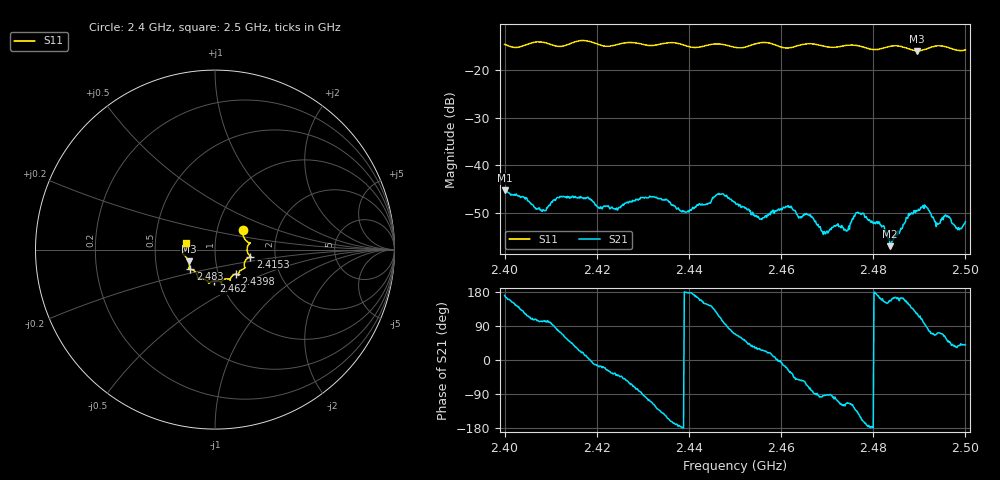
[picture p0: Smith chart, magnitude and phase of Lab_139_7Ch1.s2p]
# Hz S RI R 50
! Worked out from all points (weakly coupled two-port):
!   601 points, 2.4 GHz to 2.5 GHz, reference 50 ohm
!   highest |S21| = -45.25 dB at 2.4 GHz (marker M1); lowest = -57.1 dB at 2.4837 GHz (marker M2)
!   lowest |S11| = -15.9 dB at 2.4895 GHz (marker M3), VSWR 1.38, Z = 36.9 - j4.98 ohm
!   |S11| at or under -10 dB: start of sweep to end of sweep
!   S12 and S22 are empty: the file has one direction only
!   S11 on the Smith chart (normalised r, x): 2.4 GHz: 1.33, +0.29; 2.4153 GHz: 1.48, -0.12; 2.4398 GHz: 1.21, -0.34; 2.462 GHz: 0.93, -0.33; 2.483 GHz: 0.74, -0.17; 2.5 GHz: 0.72, +0.06
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2.4e9  0.1553 0.1068  -0.00539 0.000913  0 0  0 0
2.4085e9  0.194 0.0361  -0.000747 0.00327  0 0  0 0
2.415333e9  0.1965 -0.0387  0.00387 0.00263  0 0  0 0
2.416667e9  0.2021 -0.0429  0.00429 0.00149  0 0  0 0
2.424e9  0.1628 -0.0874  0.00286 -0.00201  0 0  0 0
2.433333e9  0.1313 -0.1334  -0.00286 -0.00339  0 0  0 0
2.439833e9  0.1153 -0.1366  -0.0033 0.000129  0 0  0 0
2.446667e9  0.0844 -0.1699  -0.00196 0.00451  0 0  0 0
2.45e9  0.0647 -0.1627  0.00144 0.00382  0 0  0 0
2.455667e9  0.0375 -0.1925  0.00243 0.00121  0 0  0 0
2.462e9  -0.0051 -0.1734  0.00306 -0.00184  0 0  0 0
2.466667e9  -0.0343 -0.1876  0.000442 -0.00285  0 0  0 0
2.469667e9  -0.045 -0.1724  -9.65e-05 -0.00189  0 0  0 0
2.474333e9  -0.0893 -0.1606  -0.000785 -0.00188  0 0  0 0
2.4775e9  -0.0974 -0.1491  -0.00284 -0.00112  0 0  0 0
2.483e9  -0.1378 -0.1096  -0.00154 0.000897  0 0  0 0
2.483333e9  -0.1402 -0.1093  -0.0015 0.00077  0 0  0 0
2.483667e9  -0.1424 -0.1091  -0.00129 0.000558  0 0  0 0
2.4895e9  -0.1465 -0.0657  -0.0018 0.00278  0 0  0 0
2.491333e9  -0.1615 -0.0414  -8.62e-05 0.00365  0 0  0 0
2.494e9  -0.1802 -0.0227  0.000745 0.00225  0 0  0 0
2.5e9  -0.1599 0.0392  0.00195 0.00162  0 0  0 0
